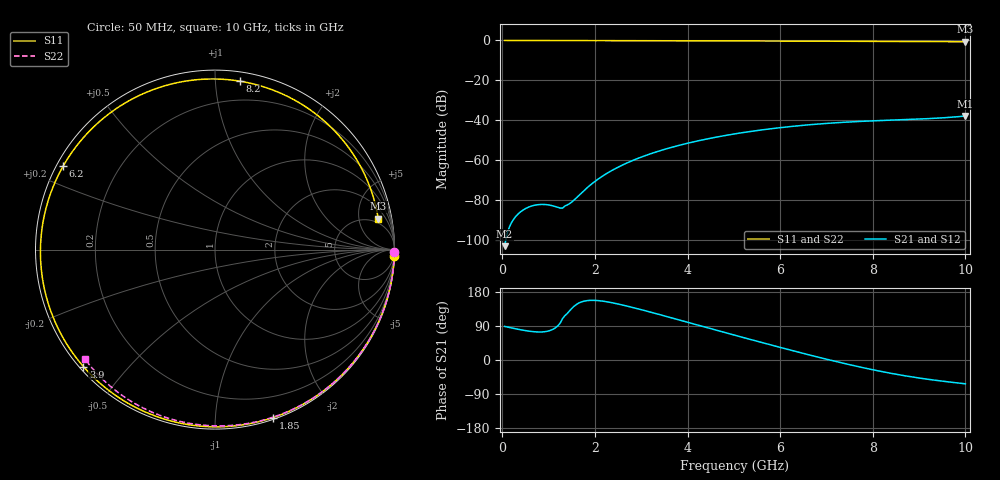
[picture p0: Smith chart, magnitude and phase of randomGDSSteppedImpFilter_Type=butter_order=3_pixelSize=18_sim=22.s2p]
! freq	dB(S11)	phase(S11)	dB(S12)	phase(S12)
!  dB(S21)	phase(S21)	dB(S22)	phase(S22)
!S-par simulation data
#  GHz  S  DB  R 50
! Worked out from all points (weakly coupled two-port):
!   200 points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, 50 MHz to 10 GHz, reference 50 ohm
!   highest |S21| = -37.95 dB at 10 GHz (marker M1); lowest = -103.3 dB at 50 MHz (marker M2)
!   lowest |S11| = -0.7 dB at 10 GHz (marker M3), VSWR 25.93, Z = 187 + j453 ohm
!   |S11| at or under -10 dB: nowhere
!   |S22| runs from -0.5 to 0.0 dB; largest |S21 - S12| = 0
!   S11 on the Smith chart (normalised r, x): 50 MHz: 0, -57; 1.85 GHz: 0.01, -1.40; 3.9 GHz: 0.01, -0.38; 6.2 GHz: 0.02, +0.26; 8.2 GHz: 0.06, +1.16; 10 GHz: 3.75, +9.07
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0.05  -0.00 -2.0  -103.31 88.6  -103.31 88.6  -0.00 -0.8
0.75  -0.04 -29.7  -82.54 74.0  -82.54 74.0  -0.02 -12.1
1.55  -0.07 -60.0  -80.14 141.8  -80.14 141.8  -0.03 -24.8
1.75  -0.08 -67.3  -75.68 154.8  -75.68 154.8  -0.04 -28.0
1.85  -0.09 -70.9  -73.60 157.0  -73.60 157.0  -0.04 -29.6
2.15  -0.10 -81.5  -68.34 155.6  -68.34 155.6  -0.04 -34.2
2.5  -0.11 -93.5  -63.65 147.8  -63.65 147.8  -0.05 -39.6
2.95  -0.13 -108.4  -59.02 134.4  -59.02 134.4  -0.06 -46.5
3.4  -0.15 -122.8  -55.41 119.8  -55.41 119.8  -0.07 -53.2
3.9  -0.17 -138.4  -52.19 103.0  -52.19 103.0  -0.08 -60.5
4.5  -0.20 -156.6  -49.09 82.8  -49.09 82.8  -0.10 -69.1
5.05  -0.23 -173.2  -46.80 64.4  -46.80 64.4  -0.12 -76.8
5.65  -0.27 168.5  -44.78 44.6  -44.78 44.6  -0.14 -85.0
6.2  -0.30 151.2  -43.29 26.9  -43.29 26.9  -0.17 -92.4
6.7  -0.34 135.0  -42.20 11.2  -42.20 11.2  -0.19 -98.9
7.5  -0.40 107.4  -40.93 -12.4  -40.93 -12.4  -0.24 -109.1
8.2  -0.46 81.7  -40.19 -30.7  -40.19 -30.7  -0.29 -117.8
8.35  -0.47 75.9  -40.05 -34.2  -40.05 -34.2  -0.31 -119.7
8.8  -0.51 58.5  -39.66 -43.8  -39.66 -43.8  -0.35 -125.2
9.25  -0.56 40.6  -39.20 -51.9  -39.20 -51.9  -0.39 -130.7
9.65  -0.61 24.7  -38.63 -58.0  -38.63 -58.0  -0.43 -135.6
10  -0.67 10.8  -37.95 -62.9  -37.95 -62.9  -0.47 -139.8
